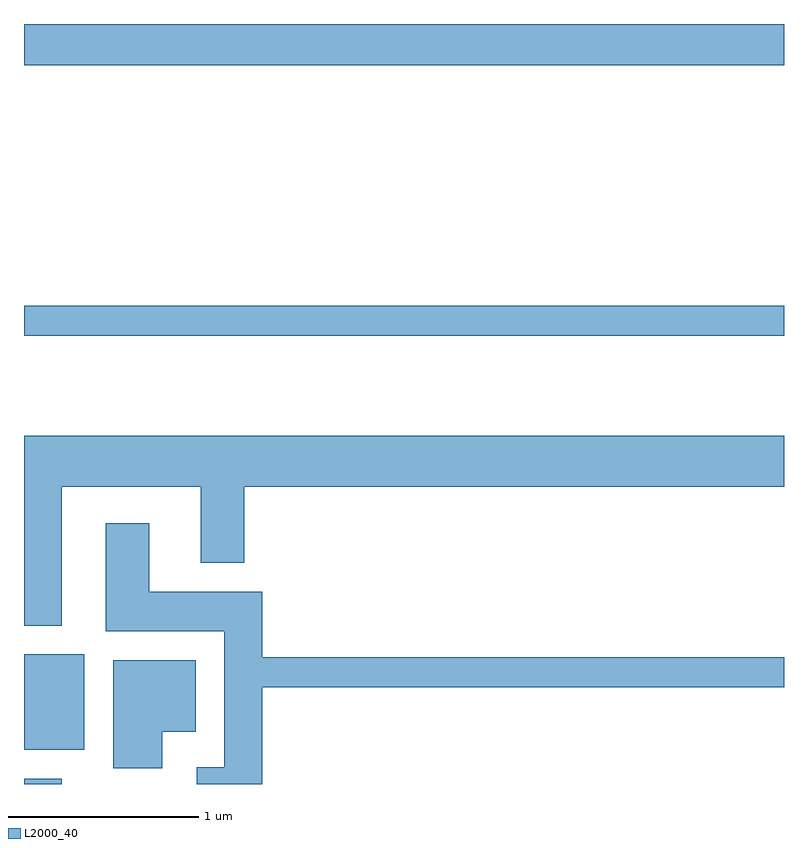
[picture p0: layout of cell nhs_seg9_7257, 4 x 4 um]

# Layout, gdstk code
import gdstk
lib = gdstk.Library(unit=1e-6, precision=1e-09)
def R(c, l, rs):  # rectangles x0, y0, x1, y1
    for r in rs: c.add(gdstk.rectangle(r[:2], r[2:], *l))
def P(c, l, *ps):  # polygons
    for p in ps: c.add(gdstk.Polygon(p, *l))
L2000_40 = (2000, 40)

nhs_seg9_7257 = lib.new_cell('nhs_seg9_7257')
R(nhs_seg9_7257, L2000_40, [(399.611,2032.432,399.809,2032.459), (399.611,2032.611,399.929,2033.114), (399.611,2034.791,403.611,2034.949), (399.611,2036.216,403.611,2036.432)])
P(nhs_seg9_7257, L2000_40, [(399.809,2033.996),(400.541,2033.996),(400.541,2033.596),(400.769,2033.596),(400.769,2033.996),(403.611,2033.996),(403.611,2034.264),(399.611,2034.264),(399.611,2033.266),(399.809,2033.266)],
  [(400.864,2032.941),(403.611,2032.941),(403.611,2033.099),(400.864,2033.099),(400.864,2033.444),(400.269,2033.444),(400.269,2033.804),(400.041,2033.804),(400.041,2033.236),(400.666,2033.236),(400.666,2032.519),(400.521,2032.519),(400.521,2032.432),(400.864,2032.432)],
  [(400.339,2032.706),(400.514,2032.706),(400.514,2033.084),(400.081,2033.084),(400.081,2032.516),(400.339,2032.516)])

lib.write_gds('nhs_seg9_7257.gds')
